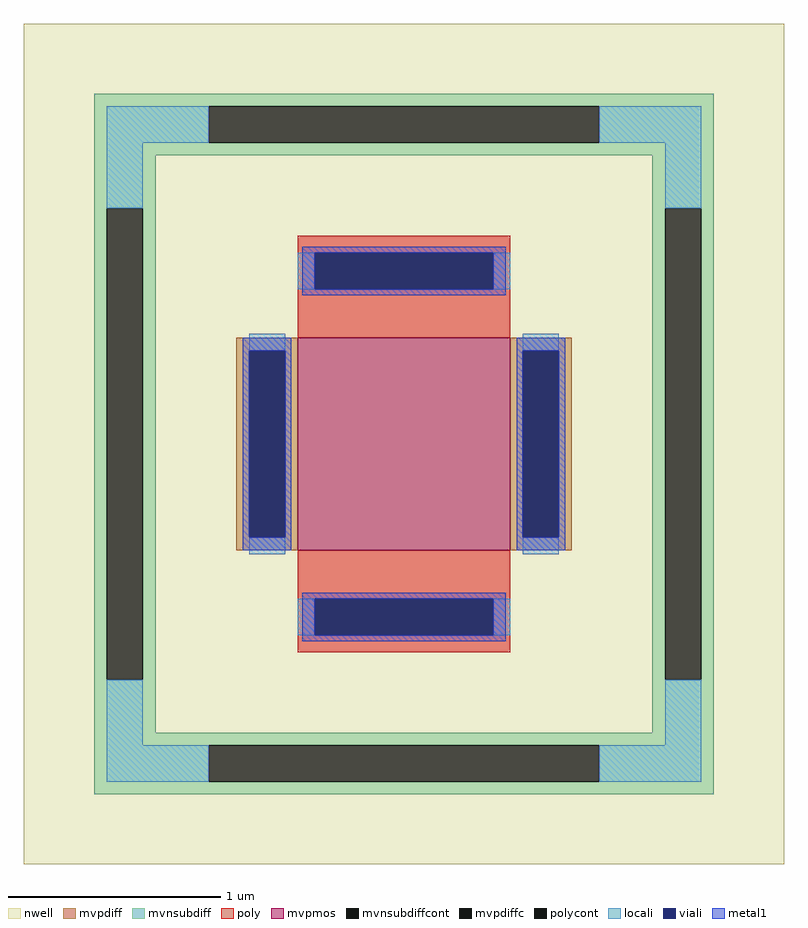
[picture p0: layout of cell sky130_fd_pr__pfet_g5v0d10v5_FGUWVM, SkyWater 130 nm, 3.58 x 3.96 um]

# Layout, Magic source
magic
tech sky130A
<< nwell >>
rect -179 -198 179 198
<< mvpmos >>
rect -50 -50 50 50
<< mvpdiff >>
rect -79 44 -50 50
rect -79 -44 -73 44
rect -56 -44 -50 44
rect -79 -50 -50 -44
rect 50 44 79 50
rect 50 -44 56 44
rect 73 -44 79 44
rect 50 -50 79 -44
<< mvpdiffc >>
rect -73 -44 -56 44
rect 56 -44 73 44
<< mvnsubdiff >>
rect -146 159 146 165
rect -146 142 -92 159
rect 92 142 146 159
rect -146 136 146 142
rect -146 111 -117 136
rect -146 -111 -140 111
rect -123 -111 -117 111
rect 117 111 146 136
rect -146 -136 -117 -111
rect 117 -111 123 111
rect 140 -111 146 111
rect 117 -136 146 -111
rect -146 -142 146 -136
rect -146 -159 -92 -142
rect 92 -159 146 -142
rect -146 -165 146 -159
<< mvnsubdiffcont >>
rect -92 142 92 159
rect -140 -111 -123 111
rect 123 -111 140 111
rect -92 -159 92 -142
<< poly >>
rect -50 90 50 98
rect -50 73 -42 90
rect 42 73 50 90
rect -50 50 50 73
rect -50 -73 50 -50
rect -50 -90 -42 -73
rect 42 -90 50 -73
rect -50 -98 50 -90
<< polycont >>
rect -42 73 42 90
rect -42 -90 42 -73
<< locali >>
rect -140 142 -92 159
rect 92 142 140 159
rect -140 111 -123 142
rect 123 111 140 142
rect -50 73 -42 90
rect 42 73 50 90
rect -73 44 -56 52
rect -73 -52 -56 -44
rect 56 44 73 52
rect 56 -52 73 -44
rect -50 -90 -42 -73
rect 42 -90 50 -73
rect -140 -142 -123 -111
rect 123 -142 140 -111
rect -140 -159 -92 -142
rect 92 -159 140 -142
<< viali >>
rect -42 73 42 90
rect -73 -44 -56 44
rect 56 -44 73 44
rect -42 -90 42 -73
<< metal1 >>
rect -48 90 48 93
rect -48 73 -42 90
rect 42 73 48 90
rect -48 70 48 73
rect -76 44 -53 50
rect -76 -44 -73 44
rect -56 -44 -53 44
rect -76 -50 -53 -44
rect 53 44 76 50
rect 53 -44 56 44
rect 73 -44 76 44
rect 53 -50 76 -44
rect -48 -73 48 -70
rect -48 -90 -42 -73
rect 42 -90 48 -73
rect -48 -93 48 -90
<< properties >>
string FIXED_BBOX -131 -151 131 151
string gencell sky130_fd_pr__pfet_g5v0d10v5
string library sky130
string parameters w 1.0 l 1.0 m 1 nf 1 diffcov 100 polycov 100 guard 1 glc 1 grc 1 gtc 1 gbc 1 tbcov 100 rlcov 100 topc 1 botc 1 poverlap 0 doverlap 1 lmin 0.50 wmin 0.42 compatible {sky130_fd_pr__pfet_01v8  sky130_fd_pr__pfet_01v8_lvt sky130_fd_pr__pfet_01v8_hvt  sky130_fd_pr__pfet_g5v0d10v5} full_metal 1 viasrc 100 viadrn 100 viagate 100 viagb 0 viagr 0 viagl 0 viagt 0
<< end >>
